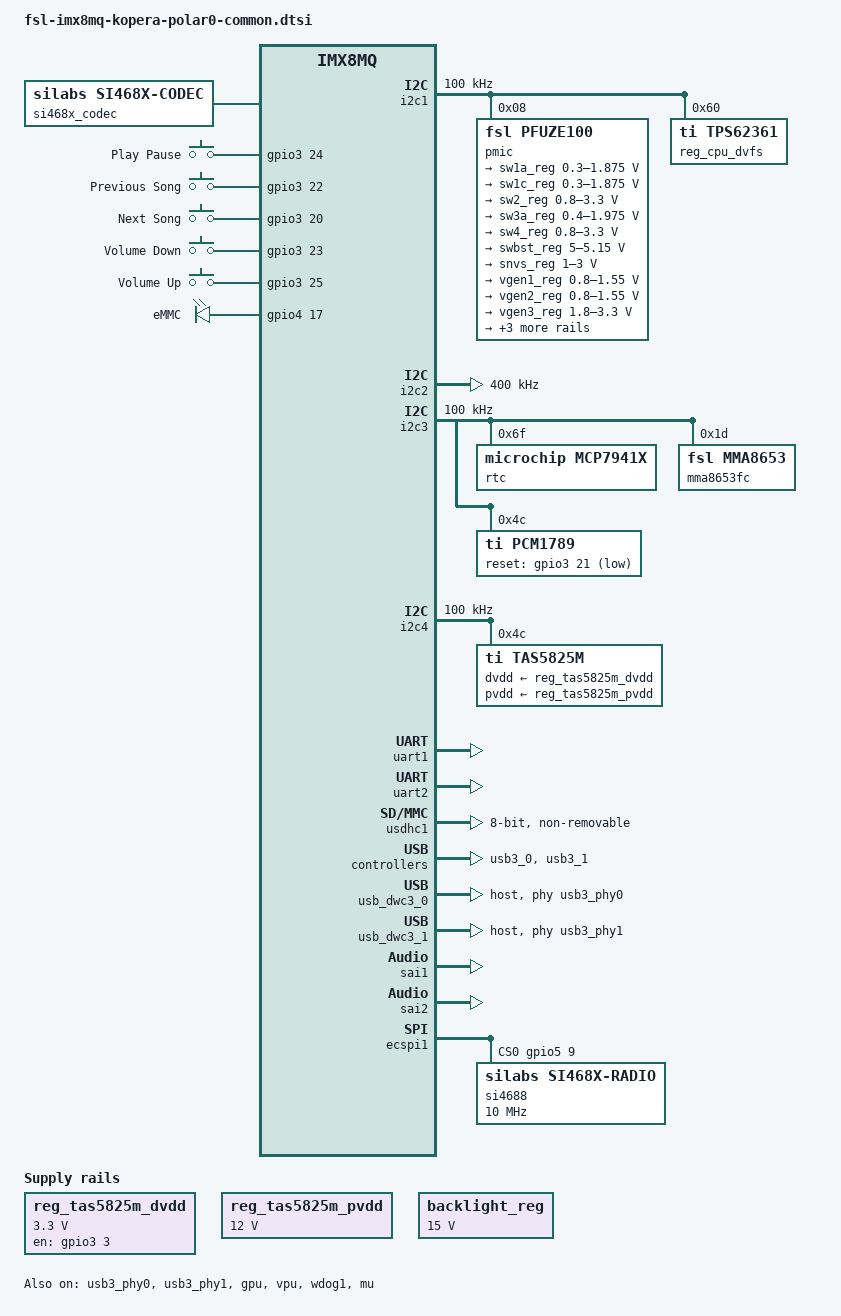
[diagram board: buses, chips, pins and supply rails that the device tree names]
/*
 * Copyright 2017 NXP
 * Copyright 2018-2019 Variscite Ltd.
 * Copyright 2019 KOPERA
 *
 * This program is free software; you can redistribute it and/or
 * modify it under the terms of the GNU General Public License
 * as published by the Free Software Foundation; either version 2
 * of the License, or (at your option) any later version.
 *
 * This program is distributed in the hope that it will be useful,
 * but WITHOUT ANY WARRANTY; without even the implied warranty of
 * MERCHANTABILITY or FITNESS FOR A PARTICULAR PURPOSE.  See the
 * GNU General Public License for more details.
 */

#include "fsl-imx8mq.dtsi"

/ {
	compatible = "kopera,imx8mq-kopera-polar0", "fsl,imx8mq";

	chosen {
		bootargs = "console=ttymxc0,115200 earlycon=ec_imx6q,0x30860000,115200";
		stdout-path = &uart1;
	};

	regulators {
		compatible = "simple-bus";
		#address-cells = <1>;
		#size-cells = <0>;

		reg_tas5825m_dvdd: tas5825m_dvdd {
			compatible = "regulator-fixed";
			regulator-name = "TAS5825M_DVDD";
			regulator-min-microvolt = <3300000>;
			regulator-max-microvolt = <3300000>;
			gpio = <&gpio3 3 GPIO_ACTIVE_HIGH>;
			enable-active-high;
		};

		reg_tas5825m_pvdd: tas5825m_pvdd {
			compatible = "regulator-fixed";
			regulator-name = "TAS5825M_PVDD";
			regulator-min-microvolt = <12000000>;
			regulator-max-microvolt = <12000000>;
			regulator-always-on;
		};

		backlight_reg: backlight_reg {
			compatible = "regulator-fixed";
			regulator-name = "BACKLIGHT_REG";
			regulator-min-microvolt = <15000000>;
			regulator-max-microvolt = <15000000>;
			regulator-always-on;
		};
	};

	sound-tas5825m {
		compatible = "simple-audio-card";
		simple-audio-card,name = "tas5825m";
		simple-audio-card,aux-devs = <&pcm1789>;
		status = "okay";

		simple-audio-card,dai-link@0 {
			format = "i2s";
			bitclock-master = <&dailink0_master>;
			frame-master = <&dailink0_master>;

			dailink0_master: cpu {
				sound-dai = <&sai1>;
			};

			codec {
				sound-dai = <&tas5825m>;
			};
		};
	};

	sound-si468x {
		compatible = "simple-audio-card";
		simple-audio-card,name = "si468x";
		status = "okay";

		simple-audio-card,dai-link@0 {
			format = "i2s";
			bitclock-master = <&dailink1_master>;
			frame-master = <&dailink1_master>;

			dailink1_master: cpu {
				sound-dai = <&sai2>;
			};

			codec {
				sound-dai = <&si468x_codec>;
			};
		};
	};

	si468x_codec: si468x-codec {
		#sound-dai-cells = <0>;

		compatible = "silabs,si468x-codec";
		status = "okay";
	};

	backlight: backlight {
		compatible = "pwm-backlight";
		pwms = <&pwm1 0 1000000 0>;
		brightness-levels = < 0  1  2  3  4  5  6  7  8  9
				     10 11 12 13 14 15 16 17 18 19
				     20 21 22 23 24 25 26 27 28 29
				     30 31 32 33 34 35 36 37 38 39
				     40 41 42 43 44 45 46 47 48 49
				     50 51 52 53 54 55 56 57 58 59
				     60 61 62 63 64 65 66 67 68 69
				     70 71 72 73 74 75 76 77 78 79
				     80 81 82 83 84 85 86 87 88 89
				     90 91 92 93 94 95 96 97 98 99
				    100>;
		power-supply = <&backlight_reg>;
		default-brightness-level = <80>;
		status = "disabled";
	};

	gpio-keys {
		compatible = "gpio-keys";
		pinctrl-names = "default";
		pinctrl-0 = <&pinctrl_gpio_keys>;

		play_pause {
			label = "Play Pause";
			gpios = <&gpio3 24 GPIO_ACTIVE_HIGH>;
			linux,code = <KEY_PLAYPAUSE>;
		};

		previous_song {
			label = "Previous Song";
			gpios = <&gpio3 22 GPIO_ACTIVE_HIGH>;
			linux,code = <KEY_PREVIOUSSONG>;
		};

		next_song {
			label = "Next Song";
			gpios = <&gpio3 20 GPIO_ACTIVE_HIGH>;
			linux,code = <KEY_NEXTSONG>;
		};

		volume_down {
			label = "Volume Down";
			gpios = <&gpio3 23 GPIO_ACTIVE_HIGH>;
			linux,code = <KEY_VOLUMEDOWN>;
		};

		volume_up {
			label = "Volume Up";
			gpios = <&gpio3 25 GPIO_ACTIVE_HIGH>;
			linux,code = <KEY_VOLUMEUP>;
		};
	};

	leds {
		compatible = "gpio-leds";
		pinctrl-names = "default";
		pinctrl-0 = <&pinctrl_leds>;

		emmc {
			label = "eMMC";
			gpios = <&gpio4 17 GPIO_ACTIVE_HIGH>;
			linux,default-trigger = "mmc0";
		};
	};
};

&clk {
	assigned-clocks = <&clk IMX8MQ_AUDIO_PLL1>;
	assigned-clock-rates = <786432000>;
};


&iomuxc {
	pinctrl-names = "default";

	imx8mq-kopera-polar0 {
		/* i2c */
		pinctrl_i2c1: i2c1grp {
			fsl,pins = <
				MX8MQ_IOMUXC_I2C1_SCL_I2C1_SCL              0x4000007f
				MX8MQ_IOMUXC_I2C1_SDA_I2C1_SDA              0x4000007f
			>;
		};

		pinctrl_i2c2: i2c2grp {
			fsl,pins = <
				MX8MQ_IOMUXC_I2C2_SCL_I2C2_SCL              0x4000007f
				MX8MQ_IOMUXC_I2C2_SDA_I2C2_SDA              0x4000007f
			>;
		};

		pinctrl_i2c3: i2c3grp {
			fsl,pins = <
				MX8MQ_IOMUXC_I2C3_SCL_I2C3_SCL              0x4000007f
				MX8MQ_IOMUXC_I2C3_SDA_I2C3_SDA              0x4000007f
			>;
		};

		pinctrl_i2c4: i2c4grp {
			fsl,pins = <
				MX8MQ_IOMUXC_I2C4_SCL_I2C4_SCL              0x4000007f
				MX8MQ_IOMUXC_I2C4_SDA_I2C4_SDA              0x4000007f
			>;
		};

		/* UART */
		pinctrl_uart1: uart1grp {
			fsl,pins = <
				MX8MQ_IOMUXC_UART1_RXD_UART1_DCE_RX         0x49
				MX8MQ_IOMUXC_UART1_TXD_UART1_DCE_TX         0x49
			>;
		};

		pinctrl_uart2: uart2grp {
			fsl,pins = <
				MX8MQ_IOMUXC_UART2_RXD_UART2_DCE_RX         0x49
				MX8MQ_IOMUXC_UART2_TXD_UART2_DCE_TX         0x49
			>;
		};

		pinctrl_uart3: uart3grp {
			fsl,pins = <
				MX8MQ_IOMUXC_UART3_RXD_UART3_DCE_RX         0x49
				MX8MQ_IOMUXC_UART3_TXD_UART3_DCE_TX         0x49
			>;
		};

		pinctrl_uart4: uart4grp {
			fsl,pins = <
				MX8MQ_IOMUXC_ECSPI2_SCLK_UART4_DCE_RX       0xc1
				MX8MQ_IOMUXC_ECSPI2_MOSI_UART4_DCE_TX       0xc1
				MX8MQ_IOMUXC_ECSPI2_MISO_UART4_DCE_CTS_B    0xc1
				MX8MQ_IOMUXC_ECSPI2_SS0_UART4_DCE_RTS_B     0xc1
			>;
		};

		pinctrl_uart4_buf_en: uart4bufengrp {
			fsl,pins = <
				MX8MQ_IOMUXC_SPDIF_EXT_CLK_GPIO5_IO5        0xc1
			>;
		};

		/* SDIO */
		pinctrl_usdhc1: usdhc1grp {
			fsl,pins = <
				MX8MQ_IOMUXC_SD1_CLK_USDHC1_CLK             0x83
				MX8MQ_IOMUXC_SD1_CMD_USDHC1_CMD             0xc3
				MX8MQ_IOMUXC_SD1_DATA0_USDHC1_DATA0         0xc3
				MX8MQ_IOMUXC_SD1_DATA1_USDHC1_DATA1         0xc3
				MX8MQ_IOMUXC_SD1_DATA2_USDHC1_DATA2         0xc3
				MX8MQ_IOMUXC_SD1_DATA3_USDHC1_DATA3         0xc3
				MX8MQ_IOMUXC_SD1_DATA4_USDHC1_DATA4         0xc3
				MX8MQ_IOMUXC_SD1_DATA5_USDHC1_DATA5         0xc3
				MX8MQ_IOMUXC_SD1_DATA6_USDHC1_DATA6         0xc3
				MX8MQ_IOMUXC_SD1_DATA7_USDHC1_DATA7         0xc3
				MX8MQ_IOMUXC_SD1_STROBE_USDHC1_STROBE       0x83
				MX8MQ_IOMUXC_SD1_RESET_B_USDHC1_RESET_B     0xc1
			>;
		};

		pinctrl_usdhc1_100mhz: usdhc1grp100mhz {
			fsl,pins = <
				MX8MQ_IOMUXC_SD1_CLK_USDHC1_CLK             0x8d
				MX8MQ_IOMUXC_SD1_CMD_USDHC1_CMD             0xcd
				MX8MQ_IOMUXC_SD1_DATA0_USDHC1_DATA0         0xcd
				MX8MQ_IOMUXC_SD1_DATA1_USDHC1_DATA1         0xcd
				MX8MQ_IOMUXC_SD1_DATA2_USDHC1_DATA2         0xcd
				MX8MQ_IOMUXC_SD1_DATA3_USDHC1_DATA3         0xcd
				MX8MQ_IOMUXC_SD1_DATA4_USDHC1_DATA4         0xcd
				MX8MQ_IOMUXC_SD1_DATA5_USDHC1_DATA5         0xcd
				MX8MQ_IOMUXC_SD1_DATA6_USDHC1_DATA6         0xcd
				MX8MQ_IOMUXC_SD1_DATA7_USDHC1_DATA7         0xcd
				MX8MQ_IOMUXC_SD1_STROBE_USDHC1_STROBE       0x8d
				MX8MQ_IOMUXC_SD1_RESET_B_USDHC1_RESET_B     0xc1
			>;
		};

		pinctrl_usdhc1_200mhz: usdhc1grp200mhz {
			fsl,pins = <
				MX8MQ_IOMUXC_SD1_CLK_USDHC1_CLK             0x9f
				MX8MQ_IOMUXC_SD1_CMD_USDHC1_CMD             0xdf
				MX8MQ_IOMUXC_SD1_DATA0_USDHC1_DATA0         0xdf
				MX8MQ_IOMUXC_SD1_DATA1_USDHC1_DATA1         0xdf
				MX8MQ_IOMUXC_SD1_DATA2_USDHC1_DATA2         0xdf
				MX8MQ_IOMUXC_SD1_DATA3_USDHC1_DATA3         0xdf
				MX8MQ_IOMUXC_SD1_DATA4_USDHC1_DATA4         0xdf
				MX8MQ_IOMUXC_SD1_DATA5_USDHC1_DATA5         0xdf
				MX8MQ_IOMUXC_SD1_DATA6_USDHC1_DATA6         0xdf
				MX8MQ_IOMUXC_SD1_DATA7_USDHC1_DATA7         0xdf
				MX8MQ_IOMUXC_SD1_STROBE_USDHC1_STROBE       0x9f
				MX8MQ_IOMUXC_SD1_RESET_B_USDHC1_RESET_B     0xc1
			>;
		};

		pinctrl_usdhc2_sd: usdhc2grpsd {
			fsl,pins = <
				MX8MQ_IOMUXC_SD2_CD_B_GPIO2_IO12            0x41
				MX8MQ_IOMUXC_SD2_RESET_B_GPIO2_IO19         0x41
			>;
		};

		pinctrl_usdhc2_fsel: usdhc2grpfsel {
			fsl,pins = <
				MX8MQ_IOMUXC_NAND_CE1_B_GPIO3_IO2           0xc1
			>;
		};

		pinctrl_usdhc2_vsel: usdhc2grpvsel {
			fsl,pins = <
				MX8MQ_IOMUXC_GPIO1_IO04_GPIO1_IO4           0xc1
			>;
		};

		pinctrl_usdhc2: usdhc2grp {
			fsl,pins = <
				MX8MQ_IOMUXC_SD2_CLK_USDHC2_CLK             0x83
				MX8MQ_IOMUXC_SD2_CMD_USDHC2_CMD             0xc3
				MX8MQ_IOMUXC_SD2_DATA0_USDHC2_DATA0         0xc3
				MX8MQ_IOMUXC_SD2_DATA1_USDHC2_DATA1         0xc3
				MX8MQ_IOMUXC_SD2_DATA2_USDHC2_DATA2         0xc3
				MX8MQ_IOMUXC_SD2_DATA3_USDHC2_DATA3         0xc3
			>;
		};

		pinctrl_usdhc2_100mhz: usdhc2grp100mhz {
			fsl,pins = <
				MX8MQ_IOMUXC_SD2_CLK_USDHC2_CLK             0x8d
				MX8MQ_IOMUXC_SD2_CMD_USDHC2_CMD             0xcd
				MX8MQ_IOMUXC_SD2_DATA0_USDHC2_DATA0         0xcd
				MX8MQ_IOMUXC_SD2_DATA1_USDHC2_DATA1         0xcd
				MX8MQ_IOMUXC_SD2_DATA2_USDHC2_DATA2         0xcd
				MX8MQ_IOMUXC_SD2_DATA3_USDHC2_DATA3         0xcd
			>;
		};

		pinctrl_usdhc2_200mhz: usdhc2grp200mhz {
			fsl,pins = <
				MX8MQ_IOMUXC_SD2_CLK_USDHC2_CLK             0x9f
				MX8MQ_IOMUXC_SD2_CMD_USDHC2_CMD             0xdf
				MX8MQ_IOMUXC_SD2_DATA0_USDHC2_DATA0         0xdf
				MX8MQ_IOMUXC_SD2_DATA1_USDHC2_DATA1         0xdf
				MX8MQ_IOMUXC_SD2_DATA2_USDHC2_DATA2         0xdf
				MX8MQ_IOMUXC_SD2_DATA3_USDHC2_DATA3         0xdf
			>;
		};

		/* SAI */
		pinctrl_sai1: sai1grp {
			fsl,pins = <
				MX8MQ_IOMUXC_SAI1_MCLK_SAI1_MCLK            0xd6
				MX8MQ_IOMUXC_SAI1_TXFS_SAI1_TX_SYNC         0xd6
				MX8MQ_IOMUXC_SAI1_TXC_SAI1_TX_BCLK          0xd6
				MX8MQ_IOMUXC_SAI1_TXD0_SAI1_TX_DATA0        0xd6
			>;
		};

		pinctrl_sai2: sai2grp {
			fsl,pins = <
				MX8MQ_IOMUXC_SAI2_MCLK_SAI2_MCLK            0xd6
				MX8MQ_IOMUXC_SAI2_RXC_SAI2_RX_BCLK          0xd6
				MX8MQ_IOMUXC_SAI2_RXD0_SAI2_RX_DATA0        0xd6
				MX8MQ_IOMUXC_SAI2_RXFS_SAI2_RX_SYNC         0xd6
			>;
		};

		/* watchdog */
		pinctrl_wdog: wdoggrp {
			fsl,pins = <
				MX8MQ_IOMUXC_GPIO1_IO02_WDOG1_WDOG_B        0xc6
			>;
		};

		/* PWM */
		pinctrl_pwm1: pwm1grp {
			fsl,pins = <
				MX8MQ_IOMUXC_GPIO1_IO01_PWM1_OUT            0x06
			>;
		};

		/* Capacitive touch */
		pinctrl_captouch: captouchgrp {
			fsl,pins = <
				MX8MQ_IOMUXC_SAI1_RXD3_GPIO4_IO5            0x16
				MX8MQ_IOMUXC_GPIO1_IO14_GPIO1_IO14          0x16
			>;
		};

		/* GPIO Keys */
		pinctrl_gpio_keys: keygrp {
			fsl,pins = <
				MX8MQ_IOMUXC_SAI5_RXD2_GPIO3_IO23           0x86
				MX8MQ_IOMUXC_SAI5_RXC_GPIO3_IO20            0x86
				MX8MQ_IOMUXC_SAI5_RXD1_GPIO3_IO22           0x86
				MX8MQ_IOMUXC_SAI5_RXD3_GPIO3_IO24           0x86
				MX8MQ_IOMUXC_SAI5_MCLK_GPIO3_IO25           0x86
			>;
		};

		/* LEDs */
		pinctrl_leds: ledgrp {
			fsl,pins = <
				MX8MQ_IOMUXC_SAI1_RXD1_GPIO4_IO3            0xc6
				MX8MQ_IOMUXC_SAI1_TXD2_GPIO4_IO14           0xc6
				MX8MQ_IOMUXC_SAI1_RXD2_GPIO4_IO4            0xc6
				MX8MQ_IOMUXC_SAI1_TXD5_GPIO4_IO17           0xc6
			>;
		};

		/* WIFI */
		pinctrl_wifi: wifigrp {
			fsl,pins = <
				MX8MQ_IOMUXC_GPIO1_IO04_GPIO1_IO4           0xc1 /* USDHC2_VSEL */
				MX8MQ_IOMUXC_GPIO1_IO08_GPIO1_IO8           0xc1 /* WIFI_PWR_ON   */
				MX8MQ_IOMUXC_NAND_CE1_B_GPIO3_IO2           0xc1 /* USDHC2_FSEL   */
				MX8MQ_IOMUXC_GPIO1_IO00_ANAMIX_REF_CLK_32K  0xc1 /* WIFI_CLK_32K  */
			>;
		};

		/* Bluetooth */
		pinctrl_bluetooth: bluetoothgrp {
			fsl,pins = <
				MX8MQ_IOMUXC_NAND_CE3_B_GPIO3_IO4           0xc1    /* BT_EN         */
				MX8MQ_IOMUXC_SPDIF_EXT_CLK_GPIO5_IO5        0xc1    /* BT_BUF_EN     */
			>;
		};

		/* SPI */
		pinctrl_ecspi1: ecspi1grp {
			fsl,pins = <
				MX8MQ_IOMUXC_ECSPI1_SCLK_ECSPI1_SCLK        0x11
				MX8MQ_IOMUXC_ECSPI1_MOSI_ECSPI1_MOSI        0x11
				MX8MQ_IOMUXC_ECSPI1_MISO_ECSPI1_MISO        0x11
				MX8MQ_IOMUXC_ECSPI1_SS0_GPIO5_IO9           0x11
			>;
		};

		/* LVDS */
		pinctrl_lvds: lvdsgrp {
			fsl,pins = <
				MX8MQ_IOMUXC_GPIO1_IO11_GPIO1_IO11          0x16
			>;
		};

		/* DAC */
		pinctrl_pcm1789: pcm1789grp {
			fsl,pins = <
				MX8MQ_IOMUXC_SAI5_RXD0_GPIO3_IO21           0x86
			>;
		};

		/* DAB/FM Radio */
		pinctrl_si4688: si4688grp {
			fsl,pins = <
				MX8MQ_IOMUXC_NAND_WP_B_GPIO3_IO18           0x86
				MX8MQ_IOMUXC_NAND_ALE_GPIO3_IO0             0xc6
			>;
		};
	};
};

/* I2C */

&i2c1 {
	clock-frequency = <100000>;
	pinctrl-names = "default";
	pinctrl-0 = <&pinctrl_i2c1>;
	status = "okay";

	pmic: pfuze100@08 {
		compatible = "fsl,pfuze100";
		reg = <0x08>;

		regulators {
			sw1a_reg: sw1ab {
				regulator-min-microvolt = <300000>;
				regulator-max-microvolt = <1875000>;
			};

			sw1c_reg: sw1c {
				regulator-min-microvolt = <300000>;
				regulator-max-microvolt = <1875000>;
			};

			sw2_reg: sw2 {
				regulator-min-microvolt = <800000>;
				regulator-max-microvolt = <3300000>;
				regulator-always-on;
			};

			sw3a_reg: sw3ab {
				regulator-min-microvolt = <400000>;
				regulator-max-microvolt = <1975000>;
				regulator-always-on;
			};

			sw4_reg: sw4 {
				regulator-min-microvolt = <800000>;
				regulator-max-microvolt = <3300000>;
				regulator-always-on;
			};

			swbst_reg: swbst {
				regulator-min-microvolt = <5000000>;
				regulator-max-microvolt = <5150000>;
			};

			snvs_reg: vsnvs {
				regulator-min-microvolt = <1000000>;
				regulator-max-microvolt = <3000000>;
				regulator-always-on;
			};

			vref_reg: vrefddr {
				regulator-always-on;
			};

			vgen1_reg: vgen1 {
				regulator-min-microvolt = <800000>;
				regulator-max-microvolt = <1550000>;
			};

			vgen2_reg: vgen2 {
				regulator-min-microvolt = <800000>;
				regulator-max-microvolt = <1550000>;
				regulator-always-on;
			};

			vgen3_reg: vgen3 {
				regulator-min-microvolt = <1800000>;
				regulator-max-microvolt = <3300000>;
				regulator-always-on;
			};

			vgen4_reg: vgen4 {
				regulator-min-microvolt = <1800000>;
				regulator-max-microvolt = <3300000>;
				regulator-always-on;
			};

			vgen5_reg: vgen5 {
				regulator-min-microvolt = <1800000>;
				regulator-max-microvolt = <3300000>;
				regulator-always-on;
			};

			vgen6_reg: vgen6 {
				regulator-min-microvolt = <1800000>;
				regulator-max-microvolt = <3300000>;
			};
		};
	};

	dsi_lvds_bridge: sn65dsi84@2c {
		compatible = "ti,sn65dsi83";
		reg = <0x2c>;
		ti,dsi-lanes = <4>;
		ti,lvds-format = <2>;
		ti,lvds-bpp = <24>;
		ti,width-mm = <154>;
		ti,height-mm = <90>;
		enable-gpios = <&gpio1 11 GPIO_ACTIVE_HIGH>;

		pinctrl-names = "default";
		pinctrl-0 = <&pinctrl_lvds>;
		status = "disabled";
		/* enable-test-pattern; */

		panel-gpios = <&gpio3 16 GPIO_ACTIVE_LOW>;
		backlight = <&backlight>;

		display-timings {
			lvds {
				clock-frequency = <50000000>;
				hactive = <1024>;
				vactive = <600>;

				hback-porch = <220>;
				hfront-porch = <50>;
				hsync-len = <50>;

				vback-porch = <26>;
				vfront-porch = <3>;
				vsync-len = <6>;

				hsync-active = <0>;
				vsync-active = <0>;
				de-active = <1>;
				pixelclk-active = <0>;
			};
		};

		port {
			sn65dsi84_in: endpoint {
				remote-endpoint = <&mipi_dsi_bridge_out>;
			};
		};
	};

	reg_cpu_dvfs: tps62361@60 {
		reg = <0x60>;
		compatible = "ti,tps62361";
		regulator-min-microvolt = <900000>;
		regulator-max-microvolt = <1000000>;
		regulator-name = "arm-supply";
		regulator-boot-on;
		regulator-always-on;
		ti,enable-force-pwm;
	};
};

&i2c2 {
	clock-frequency = <400000>;
	pinctrl-names = "default";
	pinctrl-0 = <&pinctrl_i2c2>;
	status = "okay";

	/* Capacitive touch screen */
	gt911: gt911@14 {
		compatible = "goodix,gt911";
		reg = <0x14>;
		pinctrl-names = "default";
		pinctrl-0 = <&pinctrl_captouch>;
		reset-gpios = <&gpio4 5 GPIO_ACTIVE_HIGH>;
		irq-gpios = <&gpio1 14 GPIO_ACTIVE_HIGH>;
		interrupt-parent = <&gpio1>;
		interrupts = <14 0>;
		touchscreen-size-x = <1024>;
		touchscreen-size-y = <600>;
		skip-config-loading;
		status = "disabled";
	};
};

&i2c3 {
	clock-frequency = <100000>;
	pinctrl-names = "default";
	pinctrl-0 = <&pinctrl_i2c3>;
	status = "okay";

	rtc@6f {
		compatible = "microchip,mcp7941x";
		reg = <0x6f>;
		status = "okay";
	};

	mma8653fc@1d {
		compatible = "fsl,mma8653";
		reg = <0x1d>;
		status = "okay";
	};

	pcm1789: pcm1789@4c {
		#sound-dai-cells = <0>;

		compatible = "ti,pcm1789";
		reg = <0x4c>;
		pinctrl-names = "default";
		pinctrl-0 = <&pinctrl_pcm1789>;
		reset-gpios = <&gpio3 21 GPIO_ACTIVE_LOW>;
		status = "okay";
	};
};

&i2c4 {
	clock-frequency = <100000>;
	pinctrl-names = "default";
	pinctrl-0 = <&pinctrl_i2c4>;
	status = "okay";

	tas5825m: tas5825m@4c {
		compatible = "ti,tas5825m";
		reg = <0x4c>;
		clocks = <&clk IMX8MQ_CLK_SAI1_ROOT>;
		clock-names = "mclk";
		dvdd-supply = <&reg_tas5825m_dvdd>;
		pvdd-supply = <&reg_tas5825m_pvdd>;
		#sound-dai-cells = <0>;
		status = "okay";
	};
};

/* UART */

&uart1 {
	/* Console */
	pinctrl-names = "default";
	pinctrl-0 = <&pinctrl_uart1>;
	assigned-clocks = <&clk IMX8MQ_CLK_UART1>;
	assigned-clock-parents = <&clk IMX8MQ_CLK_25M>;
	status = "okay";
};

&uart2 {
	/* uC */
	pinctrl-names = "default";
	pinctrl-0 = <&pinctrl_uart2>;
	assigned-clocks = <&clk IMX8MQ_CLK_UART2>;
	assigned-clock-parents = <&clk IMX8MQ_CLK_25M>;
	status = "okay";
};

&uart3 {
	pinctrl-names = "default";
	pinctrl-0 = <&pinctrl_uart3>;
	assigned-clocks = <&clk IMX8MQ_CLK_UART3>;
	assigned-clock-parents = <&clk IMX8MQ_CLK_25M>;
	status = "disabled";
};

&uart4 {
	/* Bluetooth */
	pinctrl-names = "default";
	pinctrl-0 = <&pinctrl_uart4>;
	assigned-clocks = <&clk IMX8MQ_CLK_UART4>;
	assigned-clock-parents = <&clk IMX8MQ_SYS1_PLL_80M>;
	fsl,uart-has-rtscts;
	status = "disabled";
};

/* eMMC */
&usdhc1 {
	pinctrl-names = "default", "state_100mhz", "state_200mhz";
	pinctrl-0 = <&pinctrl_usdhc1>;
	pinctrl-1 = <&pinctrl_usdhc1_100mhz>;
	pinctrl-2 = <&pinctrl_usdhc1_200mhz>;
	bus-width = <8>;
	non-removable;
	status = "okay";
};

/* USB */
&usb3_phy0 {
	status = "okay";
};

&usb3_0 {
	status = "okay";
};

&usb_dwc3_0 {
	status = "okay";
	dr_mode = "host";

	/* USB2 only */
	phys = <&usb3_phy0 0>;
	phy-names = "usb2-phy";
};

&usb3_phy1 {
	status = "okay";
};

&usb3_1 {
	status = "okay";
};

&usb_dwc3_1 {
	status = "okay";
	dr_mode = "host";

	/* USB2 only */
	phys = <&usb3_phy1 0>;
	phy-names = "usb2-phy";
};

/* SAI */
&sai1 {
	pinctrl-names = "default";
	pinctrl-0 = <&pinctrl_sai1>;
	assigned-clocks = <&clk IMX8MQ_CLK_SAI1>;
	assigned-clock-parents = <&clk IMX8MQ_AUDIO_PLL1_OUT>;
	assigned-clock-rates = <24576000>;
	#sound-dai-cells = <0>;
	status = "okay";
};

&sai2 {
	pinctrl-names = "default";
	pinctrl-0 = <&pinctrl_sai2>;
	assigned-clocks = <&clk IMX8MQ_CLK_SAI2>;
	assigned-clock-parents = <&clk IMX8MQ_AUDIO_PLL1_OUT>;
	assigned-clock-rates = <24576000>;
	#sound-dai-cells = <0>;
	status = "okay";
};

/* GPU/VPU */
&gpu_pd {
	power-supply = <&sw1a_reg>;
};

&vpu_pd {
	power-supply = <&sw1c_reg>;
};

&gpu {
	status = "okay";
};

&vpu {
	status = "okay";
};

/* Watchdog */
&wdog1 {
	pinctrl-names = "default";
	pinctrl-0 = <&pinctrl_wdog>;
	fsl,ext-reset-output;
	status = "okay";
};

/* m4 */
&mu {
	status = "okay";
};

/* A53 */
&A53_0 {
	operating-points = <
		/* kHz    uV */
		1500000 1000000
		1300000 1000000
		1000000 900000
		800000  900000
	>;
	dc-supply = <&reg_cpu_dvfs>;
};

&mipi_dsi_bridge {
	status = "disabled";

	port@1 {
		mipi_dsi_bridge_out: endpoint {
			remote-endpoint = <&sn65dsi84_in>;
		};
	};
};

&ecspi1 {
	pinctrl-names = "default";
	pinctrl-0 = <&pinctrl_ecspi1>;
	cs-gpios = <&gpio5 9 0>;
	fsl,spi-num-chipselects = <1>;
	status = "okay";

	si4688@0 {
		compatible = "silabs,si468x-radio";
		reg = <0>;
		pinctrl-names = "default";
		pinctrl-0 = <&pinctrl_si4688>;
		spi-max-frequency = <10000000>;
		status = "okay";
	};
};

&pwm1 {
	pinctrl-names = "default";
	pinctrl-0 = <&pinctrl_pwm1>;
};

&snvs_rtc {
	status = "disabled";
};
